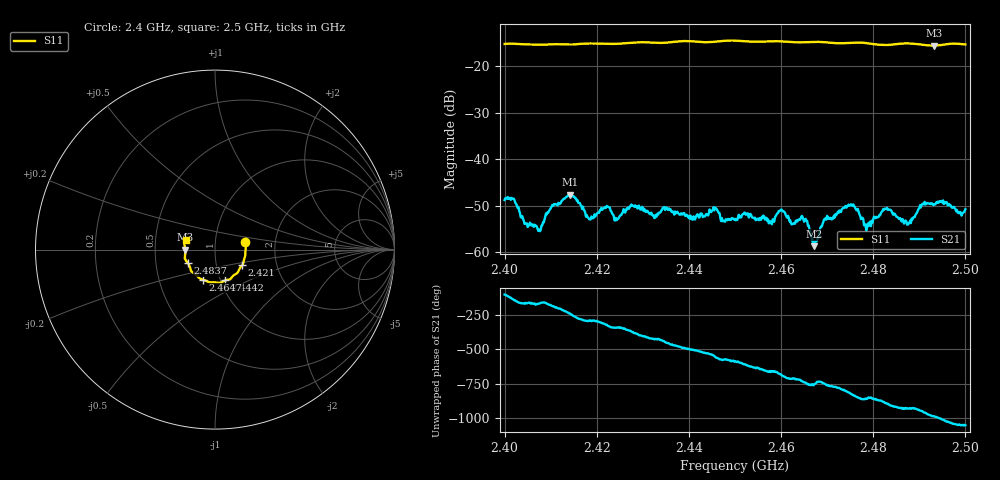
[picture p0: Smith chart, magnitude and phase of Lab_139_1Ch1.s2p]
# Hz S RI R 50
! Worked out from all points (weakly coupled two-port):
!   601 points, 2.4 GHz to 2.5 GHz, reference 50 ohm
!   highest |S21| = -47.60 dB at 2.4142 GHz (marker M1); lowest = -58.7 dB at 2.4672 GHz (marker M2)
!   lowest |S11| = -15.6 dB at 2.4932 GHz (marker M3), VSWR 1.40, Z = 35.8 - j0.0578 ohm
!   |S11| at or under -10 dB: start of sweep to end of sweep
!   S12 and S22 are empty: the file has one direction only
!   S11 on the Smith chart (normalised r, x): 2.4 GHz: 1.40, +0.12; 2.421 GHz: 1.33, -0.24; 2.4442 GHz: 1.05, -0.37; 2.4647 GHz: 0.83, -0.29; 2.4837 GHz: 0.73, -0.11; 2.5 GHz: 0.72, +0.08
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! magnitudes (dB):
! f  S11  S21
! 2.4 GHz  -15.3  -48.8
! 2.4075 GHz  -15.4  -55.1
! 2.4103 GHz  -15.3  -49.8
! 2.4142 GHz  -15.4  -47.6
! 2.4167 GHz  -15.2  -50.0
! 2.4187 GHz  -15.1  -52.9
! 2.421 GHz  -15.2  -50.4
! 2.4243 GHz  -15.2  -53.1
! 2.4333 GHz  -15.0  -51.9
! 2.4442 GHz  -14.9  -52.1
! 2.45 GHz  -14.5  -52.8
! 2.4647 GHz  -14.9  -52.4
! 2.4667 GHz  -14.8  -57.0
! 2.4672 GHz  -14.8  -58.7
! 2.4695 GHz  -14.9  -52.9
! 2.4743 GHz  -15.1  -50.0
! 2.4785 GHz  -15.1  -55.3
! 2.4833 GHz  -15.5  -50.8
! 2.4837 GHz  -15.4  -50.8
! 2.4877 GHz  -15.1  -53.8
! 2.4932 GHz  -15.6  -49.6
! 2.5 GHz  -15.4  -50.7
